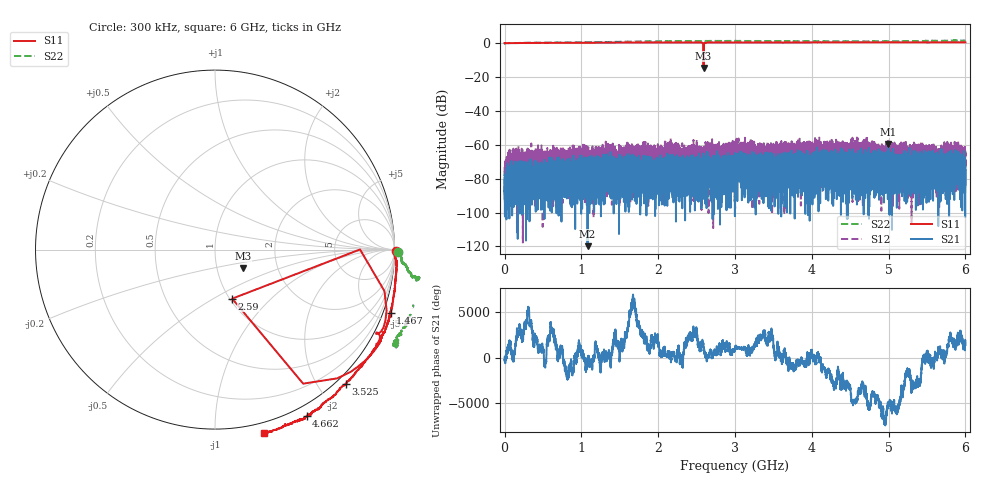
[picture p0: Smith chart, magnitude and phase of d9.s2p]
!Agilent Technologies,N5230C,SG49000117,A.08.50.07
!Agilent N5230C: A.08.50.07
!Date: Thursday, May 16, 2024 19:33:29
!Correction: S11(Full 2 Port(1,2))
!S21(Full 2 Port(1,2))
!S12(Full 2 Port(1,2))
!S22(Full 2 Port(1,2))
!S2P File: Measurements: S11, S21, S12, S22:
# Hz S  MA  R 50
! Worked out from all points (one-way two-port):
!   20001 points, 300 kHz to 6 GHz, reference 50 ohm
!   highest |S21| = -59.46 dB at 4.996 GHz (marker M1); lowest = -119.9 dB at 1.08 GHz (marker M2)
!   lowest |S11| = -14.6 dB at 2.59 GHz (marker M3), VSWR 1.45, Z = 66.6 - j14.1 ohm
!   |S11| at or under -10 dB: 2.589666 GHz to 2.591118 GHz (1.451 MHz wide, 0.056 % of centre)
!   |S22| runs from -0.3 to 1.6 dB; largest |S21 - S12| = 0.0019
!   S11 on the Smith chart (normalised r, x): 300 kHz: open; 1.467 GHz: -0.66, -5.68; 2.59 GHz: 1.03, -0.61; 3.525 GHz: -0.14, -2.36; 4.662 GHz: -0.11, -1.68; 6 GHz: -0.08, -1.30
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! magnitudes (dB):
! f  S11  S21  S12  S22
! 300 kHz  0.1  -77.7  -73.0  0.2
! 157.8 MHz  0.0  -74.9  -76.9  0.1
! 1 GHz  0.2  -66.3  -75.4  0.5
! 1.08 GHz  0.2  -119.9  -77.3  0.5
! 1.467 GHz  0.3  -71.2  -72.5  0.8
! 2 GHz  0.4  -78.1  -72.5  1.1
! 2.161 GHz  0.4  -81.7  -65.4  1.2
! 2.319 GHz  0.5  -71.8  -66.2  1.2
! 2.59 GHz  -10.8  -80.4  -83.3  1.3
! 2.59 GHz  -14.6  -83.7  -68.7  1.3
! 3 GHz  0.4  -67.1  -64.0  1.3
! 3.525 GHz  0.4  -74.7  -65.5  1.2
! 3.836 GHz  0.4  -68.7  -67.2  1.2
! 4 GHz  0.4  -78.9  -62.9  1.2
! 4.166 GHz  0.5  -70.9  -63.7  1.1
! 4.662 GHz  0.5  -70.6  -72.1  1.1
! 4.943 GHz  0.5  -84.9  -73.5  1.2
! 4.996 GHz  0.5  -59.5  -57.7  1.2
! 5 GHz  0.5  -71.4  -70.0  1.1
! 5.087 GHz  0.5  -74.3  -68.1  1.1
! 5.884 GHz  0.5  -73.7  -78.5  1.5
! 6 GHz  0.5  -83.5  -72.2  1.5
